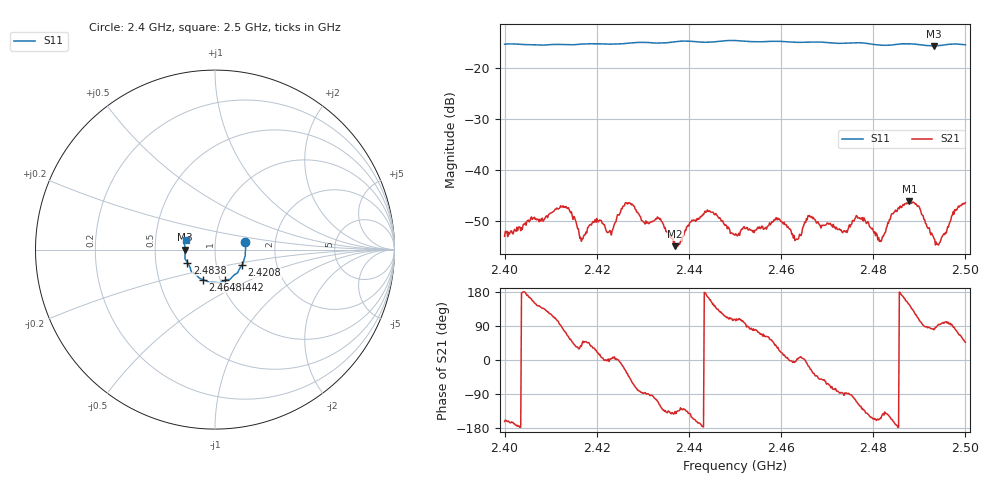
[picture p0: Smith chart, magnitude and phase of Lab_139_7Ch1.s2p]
# Hz S RI R 50
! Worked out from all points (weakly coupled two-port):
!   601 points, 2.4 GHz to 2.5 GHz, reference 50 ohm
!   highest |S21| = -46.10 dB at 2.4878 GHz (marker M1); lowest = -55.0 dB at 2.437 GHz (marker M2)
!   lowest |S11| = -15.6 dB at 2.4932 GHz (marker M3), VSWR 1.40, Z = 35.8 - j0.0784 ohm
!   |S11| at or under -10 dB: start of sweep to end of sweep
!   S12 and S22 are empty: the file has one direction only
!   S11 on the Smith chart (normalised r, x): 2.4 GHz: 1.40, +0.12; 2.4208 GHz: 1.33, -0.24; 2.4442 GHz: 1.05, -0.37; 2.4648 GHz: 0.83, -0.29; 2.4838 GHz: 0.73, -0.11; 2.5 GHz: 0.72, +0.08
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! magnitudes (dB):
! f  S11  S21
! 2.4 GHz  -15.3  -53.1
! 2.4127 GHz  -15.3  -47.1
! 2.4167 GHz  -15.2  -54.1
! 2.4208 GHz  -15.2  -50.0
! 2.423 GHz  -15.2  -52.1
! 2.4267 GHz  -15.1  -46.7
! 2.4333 GHz  -15.0  -49.5
! 2.437 GHz  -14.8  -55.0
! 2.4442 GHz  -14.9  -48.1
! 2.45 GHz  -14.5  -52.9
! 2.459 GHz  -14.7  -49.4
! 2.4632 GHz  -14.9  -53.7
! 2.4648 GHz  -14.9  -51.1
! 2.4667 GHz  -14.8  -49.2
! 2.4738 GHz  -15.1  -52.1
! 2.4768 GHz  -15.0  -49.4
! 2.4815 GHz  -15.4  -53.9
! 2.4833 GHz  -15.5  -50.4
! 2.4838 GHz  -15.4  -49.1
! 2.4878 GHz  -15.2  -46.1
! 2.4932 GHz  -15.6  -53.5
! 2.5 GHz  -15.4  -46.5
